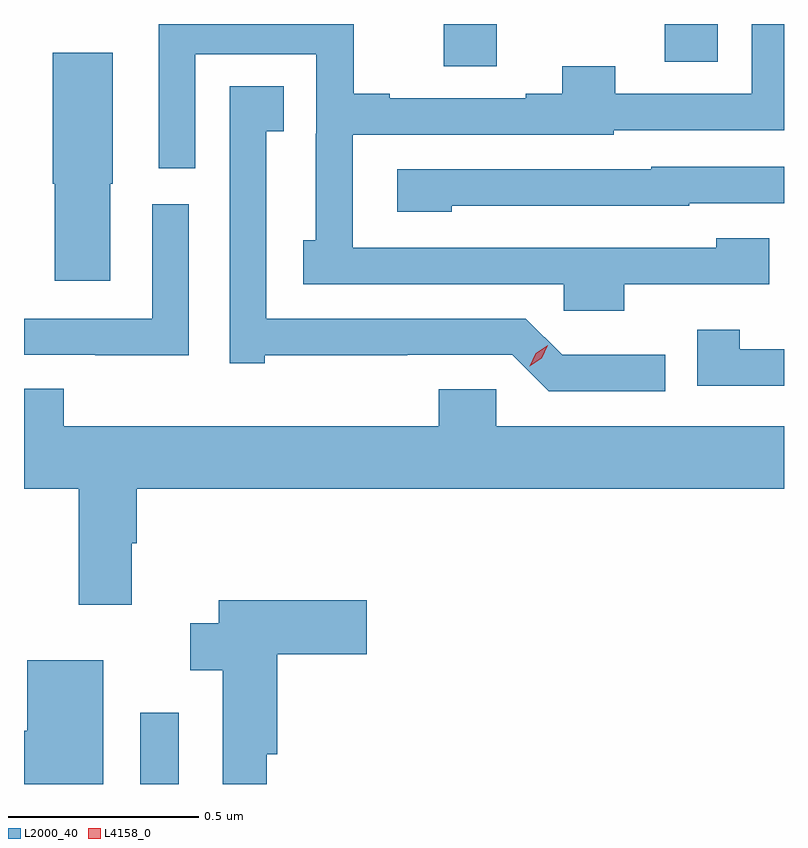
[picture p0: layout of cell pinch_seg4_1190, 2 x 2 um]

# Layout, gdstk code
import gdstk
lib = gdstk.Library(unit=1e-6, precision=1e-09)
def R(c, l, rs):  # rectangles x0, y0, x1, y1
    for r in rs: c.add(gdstk.rectangle(r[:2], r[2:], *l))
def P(c, l, *ps):  # polygons
    for p in ps: c.add(gdstk.Polygon(p, *l))
L2000_40 = (2000, 40)
L4158_0 = (4158, 0)

pinch_seg4_1190 = lib.new_cell('pinch_seg4_1190')
R(pinch_seg4_1190, L2000_40, [(477.713,788.051,477.814,788.239), (478.511,789.94,478.651,790.051), (479.093,789.952,479.233,790.051)])
P(pinch_seg4_1190, L2000_40, [(478.986,789.366),(479.368,789.366),(479.368,789.487),(479.229,789.487),(479.229,789.462),(478.272,789.462),(478.272,789.759),(478.959,789.759),(478.959,789.771),(479.407,789.771),(479.407,790.051),(479.322,790.051),(479.322,789.867),(478.963,789.867),(478.963,789.94),(478.823,789.94),(478.823,789.868),(478.727,789.868),(478.727,789.855),(478.369,789.855),(478.369,789.868),(478.275,789.868),(478.275,790.051),(477.762,790.051),(477.762,789.672),(477.858,789.672),(477.858,789.972),(478.176,789.972),(478.176,789.762),(478.175,789.762),(478.175,789.482),(478.142,789.482),(478.142,789.366),(478.827,789.366),(478.827,789.297),(478.986,789.297)],
  [(477.634,789.63),(477.64,789.63),(477.64,789.976),(477.482,789.976),(477.482,789.63),(477.488,789.63),(477.488,789.375),(477.634,789.375)],
  [(479.094,789.18),(478.824,789.18),(478.728,789.276),(478.044,789.276),(478.044,789.559),(478.045,789.559),(478.045,789.769),(478.091,789.769),(478.091,789.887),(477.948,789.887),(477.948,789.158),(478.041,789.158),(478.041,789.179),(478.415,789.179),(478.415,789.18),(478.692,789.18),(478.788,789.084),(479.094,789.084)],
  [(478.533,789.573),(479.157,789.573),(479.157,789.579),(479.407,789.579),(479.407,789.675),(479.058,789.675),(479.058,789.669),(478.389,789.669),(478.389,789.557),(478.533,789.557)],
  [(477.84,789.577),(477.744,789.577),(477.744,789.276),(477.407,789.276),(477.407,789.18),(477.595,789.18),(477.595,789.179),(477.84,789.179)],
  [(479.407,789.195),(479.29,789.195),(479.29,789.247),(479.179,789.247),(479.179,789.099),(479.407,789.099)],
  [(477.691,788.684),(477.704,788.684),(477.704,788.828),(479.407,788.828),(479.407,788.992),(478.65,788.992),(478.65,789.09),(478.499,789.09),(478.499,788.992),(477.512,788.992),(477.512,789.091),(477.407,789.091),(477.407,788.828),(477.551,788.828),(477.551,788.523),(477.691,788.523)],
  [(478.046,788.129),(478.073,788.129),(478.073,788.393),(478.309,788.393),(478.309,788.535),(477.92,788.535),(477.92,788.474),(477.845,788.474),(477.845,788.35),(477.93,788.35),(477.93,788.051),(478.046,788.051)],
  [(477.616,788.377),(477.416,788.377),(477.416,788.191),(477.407,788.191),(477.407,788.051),(477.616,788.051)])
P(pinch_seg4_1190, L4158_0, [(478.738,789.15),(478.738,789.15),(478.754,789.184),(478.785,789.205),(478.785,789.205),(478.785,789.205),(478.769,789.171),(478.738,789.15)])

lib.write_gds('pinch_seg4_1190.gds')
